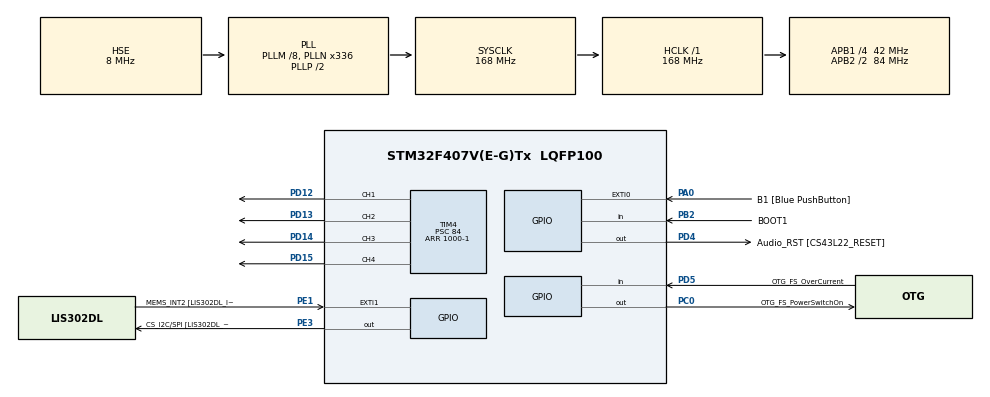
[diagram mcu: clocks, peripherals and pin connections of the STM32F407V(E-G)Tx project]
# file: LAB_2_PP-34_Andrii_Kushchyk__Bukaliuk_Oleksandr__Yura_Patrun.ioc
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Mcu.Family=STM32F4
Mcu.Name=STM32F407V(E-G)Tx
Mcu.Package=LQFP100
NVIC.PriorityGroup=NVIC_PRIORITYGROUP_0
PA0-WKUP.GPIO_Label=B1 [Blue PushButton]
PA0-WKUP.Signal=GPXTI0
PA10.GPIO_Label=OTG_FS_ID
PA10.GPIO_Mode=GPIO_MODE_AF_PP
PA10.GPIO_PuPd=GPIO_NOPULL
PA10.GPIO_Speed=GPIO_SPEED_FREQ_LOW
PA10.Signal=USB_OTG_FS_ID
PA11.GPIO_Label=OTG_FS_DM
PA11.GPIO_Mode=GPIO_MODE_AF_PP
PA11.GPIO_PuPd=GPIO_NOPULL
PA11.GPIO_Speed=GPIO_SPEED_FREQ_LOW
PA11.Signal=USB_OTG_FS_DM
PA12.GPIO_Label=OTG_FS_DP
PA12.GPIO_Mode=GPIO_MODE_AF_PP
PA12.GPIO_PuPd=GPIO_NOPULL
PA12.GPIO_Speed=GPIO_SPEED_FREQ_LOW
PA12.Signal=USB_OTG_FS_DP
PA13.GPIO_Label=SWDIO
PA13.Mode=Serial_Wire
PA13.Signal=SYS_JTMS-SWDIO
PA14.GPIO_Label=SWCLK
PA14.Mode=Serial_Wire
PA14.Signal=SYS_JTCK-SWCLK
PA4.GPIO_Label=I2S3_WS [CS43L22_LRCK]
PA4.GPIO_Mode=GPIO_MODE_AF_PP
PA4.GPIO_PuPd=GPIO_NOPULL
PA4.GPIO_Speed=GPIO_SPEED_FREQ_LOW
PA4.Signal=I2S3_WS
PA5.GPIO_Label=SPI1_SCK [LIS302DL_SCL/SPC]
PA5.GPIO_Mode=GPIO_MODE_AF_PP
PA5.GPIO_PuPd=GPIO_NOPULL
PA5.GPIO_Speed=GPIO_SPEED_FREQ_LOW
PA5.Signal=SPI1_SCK
PA6.GPIO_Label=SPI1_MISO [LIS302DL_SDO]
PA6.GPIO_Mode=GPIO_MODE_AF_PP
PA6.GPIO_PuPd=GPIO_NOPULL
PA6.GPIO_Speed=GPIO_SPEED_FREQ_LOW
PA6.Signal=SPI1_MISO
PA7.GPIO_Label=SPI1_MOSI [LIS302DL_SDA/SDI/SDO]
PA7.GPIO_Mode=GPIO_MODE_AF_PP
PA7.GPIO_PuPd=GPIO_NOPULL
PA7.GPIO_Speed=GPIO_SPEED_FREQ_LOW
PA7.Signal=SPI1_MOSI
PA9.GPIO_Label=VBUS_FS
PA9.GPIO_Mode=GPIO_MODE_INPUT
PA9.GPIO_PuPd=GPIO_NOPULL
PA9.Signal=USB_OTG_FS_VBUS
PB10.GPIO_Label=CLK_IN [MP45DT02_CLK]
PB10.GPIO_Mode=GPIO_MODE_AF_PP
PB10.GPIO_PuPd=GPIO_NOPULL
PB10.GPIO_Speed=GPIO_SPEED_FREQ_LOW
PB10.Signal=I2S2_CK
PB2.GPIO_Label=BOOT1
PB2.GPIO_Mode=GPIO_MODE_INPUT
PB2.GPIO_PuPd=GPIO_NOPULL
PB2.Signal=GPIO_Input
PB3.GPIO_Label=SWO
PB3.Signal=SYS_JTDO-SWO
PB6.GPIO_Label=Audio_SCL [CS43L22_SCL]
PB6.GPIO_Mode=GPIO_MODE_AF_OD
PB6.GPIO_PuPd=GPIO_NOPULL
PB6.GPIO_Speed=GPIO_SPEED_FREQ_LOW
PB6.Signal=I2C1_SCL
PB9.GPIO_Label=Audio_SDA [CS43L22_SDA]
PB9.GPIO_Mode=GPIO_MODE_AF_OD
PB9.GPIO_PuPd=GPIO_NOPULL
PB9.GPIO_Speed=GPIO_SPEED_FREQ_LOW
PB9.Signal=I2C1_SDA
PC0.GPIO_Label=OTG_FS_PowerSwitchOn
PC0.GPIO_PuPd=GPIO_NOPULL
PC0.GPIO_Speed=GPIO_SPEED_FREQ_LOW
PC0.PinState=GPIO_PIN_SET
PC0.Signal=GPIO_Output
PC10.GPIO_Label=I2S3_SCK [CS43L22_SCLK]
PC10.GPIO_Mode=GPIO_MODE_AF_PP
PC10.GPIO_PuPd=GPIO_NOPULL
PC10.GPIO_Speed=GPIO_SPEED_FREQ_LOW
PC10.Signal=I2S3_CK
PC12.GPIO_Label=I2S3_SD [CS43L22_SDIN]
PC12.GPIO_Mode=GPIO_MODE_AF_PP
PC12.GPIO_PuPd=GPIO_NOPULL
PC12.GPIO_Speed=GPIO_SPEED_FREQ_LOW
PC12.Signal=I2S3_SD
PC14-OSC32_IN.GPIO_Label=PC14-OSC32_IN
PC14-OSC32_IN.Mode=LSE-External-Oscillator
PC14-OSC32_IN.Signal=RCC_OSC32_IN
PC15-OSC32_OUT.GPIO_Label=PC15-OSC32_OUT
PC15-OSC32_OUT.Mode=LSE-External-Oscillator
PC15-OSC32_OUT.Signal=RCC_OSC32_OUT
PC3.GPIO_Label=PDM_OUT [MP45DT02_DOUT]
PC3.GPIO_Mode=GPIO_MODE_AF_PP
PC3.GPIO_PuPd=GPIO_NOPULL
PC3.GPIO_Speed=GPIO_SPEED_FREQ_LOW
PC3.Signal=I2S2_SD
PC7.GPIO_Label=I2S3_MCK [CS43L22_MCLK]
PC7.GPIO_Mode=GPIO_MODE_AF_PP
PC7.GPIO_PuPd=GPIO_NOPULL
PC7.GPIO_Speed=GPIO_SPEED_FREQ_LOW
PC7.Signal=I2S3_MCK
PD12.Signal=S_TIM4_CH1
PD13.Signal=S_TIM4_CH2
PD14.Signal=S_TIM4_CH3
PD15.Signal=S_TIM4_CH4
PD4.GPIO_Label=Audio_RST [CS43L22_RESET]
PD4.GPIO_PuPd=GPIO_NOPULL
PD4.GPIO_Speed=GPIO_SPEED_FREQ_LOW
PD4.Signal=GPIO_Output
PD5.GPIO_Label=OTG_FS_OverCurrent
PD5.GPIO_Mode=GPIO_MODE_INPUT
PD5.GPIO_PuPd=GPIO_NOPULL
PD5.Signal=GPIO_Input
PE1.GPIO_Label=MEMS_INT2 [LIS302DL_INT2]
PE1.GPIO_ModeDefaultEXTI=GPIO_MODE_EVT_RISING
PE1.GPIO_PuPd=GPIO_NOPULL
PE1.Signal=GPXTI1
PE3.GPIO_Label=CS_I2C/SPI [LIS302DL_CS_I2C/SPI]
PE3.GPIO_PuPd=GPIO_NOPULL
PE3.GPIO_Speed=GPIO_SPEED_FREQ_LOW
PE3.Signal=GPIO_Output
PH0-OSC_IN.GPIO_Label=PH0-OSC_IN
PH0-OSC_IN.Mode=HSE-External-Oscillator
PH0-OSC_IN.Signal=RCC_OSC_IN
PH1-OSC_OUT.GPIO_Label=PH1-OSC_OUT
PH1-OSC_OUT.Mode=HSE-External-Oscillator
PH1-OSC_OUT.Signal=RCC_OSC_OUT
ProjectManager.HeapSize=0x200
ProjectManager.StackSize=0x400
ProjectManager.TargetToolchain=STM32CubeIDE
RCC.48MHZClocksFreq_Value=48000000
RCC.AHBFreq_Value=168000000
RCC.APB1CLKDivider=RCC_HCLK_DIV4
RCC.APB1Freq_Value=42000000
RCC.APB1TimFreq_Value=84000000
RCC.APB2CLKDivider=RCC_HCLK_DIV2
RCC.APB2Freq_Value=84000000
RCC.APB2TimFreq_Value=168000000
RCC.CortexFreq_Value=168000000
RCC.HCLKFreq_Value=168000000
RCC.HSE_VALUE=8000000
RCC.HSI_VALUE=16000000
RCC.PLLM=8
RCC.PLLN=336
RCC.PLLQ=7
RCC.PLLSourceVirtual=RCC_PLLSOURCE_HSE
RCC.SYSCLKFreq_VALUE=168000000
RCC.SYSCLKSource=RCC_SYSCLKSOURCE_PLLCLK
RCC.VCOOutputFreq_Value=336000000
SH.S_TIM4_CH1.0=TIM4_CH1,PWM Generation1 CH1
SH.S_TIM4_CH2.0=TIM4_CH2,PWM Generation2 CH2
SH.S_TIM4_CH3.0=TIM4_CH3,PWM Generation3 CH3
SH.S_TIM4_CH4.0=TIM4_CH4,PWM Generation4 CH4
TIM4.Channel-PWM\ Generation1\ CH1=TIM_CHANNEL_1
TIM4.Channel-PWM\ Generation2\ CH2=TIM_CHANNEL_2
TIM4.Channel-PWM\ Generation3\ CH3=TIM_CHANNEL_3
TIM4.Channel-PWM\ Generation4\ CH4=TIM_CHANNEL_4
TIM4.Period=1000-1
TIM4.Prescaler=84
VP_TIM4_VS_ClockSourceINT.Mode=Internal
board=STM32F407G-DISC1

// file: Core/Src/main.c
/* USER CODE BEGIN Header */
/**
 ******************************************************************************
 * @file           : main.c
 * @brief          : Main program body
 ******************************************************************************
 * @attention
 *
 * Copyright (c) 2024 STMicroelectronics.
 * All rights reserved.
 *
 * This software is licensed under terms that can be found in the LICENSE file
 * in the root directory of this software component.
 * If no LICENSE file comes with this software, it is provided AS-IS.
 *
 ******************************************************************************
 */
/* USER CODE END Header */
#include "main.h"

TIM_HandleTypeDef htim4;

void SystemClock_Config(void);
static void MX_GPIO_Init(void);
static void MX_TIM4_Init(void);

int main(void)
{

  /* MCU Configuration--------------------------------------------------------*/

  /* Reset of all peripherals, Initializes the Flash interface and the Systick. */
  HAL_Init();

  /* Configure the system clock */
  SystemClock_Config();

  /* Initialize all configured peripherals */
  MX_GPIO_Init();
  MX_TIM4_Init();
  /* USER CODE BEGIN 2 */
	uint32_t button_press_time = 0;
	uint32_t current_time = 0;

	uint16_t TIM_DC = 1;
	HAL_TIM_PWM_Start(&htim4, TIM_CHANNEL_1);
	HAL_TIM_PWM_Start(&htim4, TIM_CHANNEL_2);
	HAL_TIM_PWM_Start(&htim4, TIM_CHANNEL_3);
	HAL_TIM_PWM_Start(&htim4, TIM_CHANNEL_4);

  /* USER CODE END 2 */

  /* Infinite loop */
	while (1) {

    /* USER CODE BEGIN 3 */
		if (HAL_GPIO_ReadPin(GPIOA, GPIO_PIN_0) == GPIO_PIN_SET) {

			if (button_press_time == 0) {
				button_press_time = HAL_GetTick();
			}

			current_time = HAL_GetTick();
			uint32_t hold_duration = current_time - button_press_time;
			if (hold_duration > 20 && hold_duration < 2000) {
				TIM_DC = 100;
				htim4.Instance->CCR1 = TIM_DC;
				htim4.Instance->CCR2 = TIM_DC;
				htim4.Instance->CCR3 = 0;
				htim4.Instance->CCR4 = 0;

			} else if (hold_duration >= 2000 && hold_duration < 4000) {
				TIM_DC = 400;
				htim4.Instance->CCR1 = 0;
				htim4.Instance->CCR2 = 0;
				htim4.Instance->CCR3 = TIM_DC;
				htim4.Instance->CCR4 = TIM_DC;
			} else if (hold_duration >= 4000 && hold_duration < 6000) {
				TIM_DC = 999;
				htim4.Instance->CCR1 = TIM_DC;
				htim4.Instance->CCR2 = TIM_DC;
				htim4.Instance->CCR3 = TIM_DC;
				htim4.Instance->CCR4 = TIM_DC;
			} else if (hold_duration >= 6000) {
				TIM_DC = 0;
				htim4.Instance->CCR1 = TIM_DC;
				htim4.Instance->CCR2 = TIM_DC;
				htim4.Instance->CCR3 = TIM_DC;
				htim4.Instance->CCR4 = TIM_DC;
			}

		} else {
			if (button_press_time > 0) {
				button_press_time = 0;
			}
		}
	}
  /* USER CODE END 3 */
}

void SystemClock_Config(void)
{
  RCC_OscInitTypeDef RCC_OscInitStruct = {0};
  RCC_ClkInitTypeDef RCC_ClkInitStruct = {0};

  /** Configure the main internal regulator output voltage
  */
  __HAL_RCC_PWR_CLK_ENABLE();
  __HAL_PWR_VOLTAGESCALING_CONFIG(PWR_REGULATOR_VOLTAGE_SCALE1);

  /** Initializes the RCC Oscillators according to the specified parameters
  * in the RCC_OscInitTypeDef structure.
  */
  RCC_OscInitStruct.OscillatorType = RCC_OSCILLATORTYPE_HSE;
  RCC_OscInitStruct.HSEState = RCC_HSE_ON;
  RCC_OscInitStruct.PLL.PLLState = RCC_PLL_ON;
  RCC_OscInitStruct.PLL.PLLSource = RCC_PLLSOURCE_HSE;
  RCC_OscInitStruct.PLL.PLLM = 8;
  RCC_OscInitStruct.PLL.PLLN = 336;
  RCC_OscInitStruct.PLL.PLLP = RCC_PLLP_DIV2;
  RCC_OscInitStruct.PLL.PLLQ = 7;
  if (HAL_RCC_OscConfig(&RCC_OscInitStruct) != HAL_OK)
  {
    Error_Handler();
  }

  /** Initializes the CPU, AHB and APB buses clocks
  */
  RCC_ClkInitStruct.ClockType = RCC_CLOCKTYPE_HCLK|RCC_CLOCKTYPE_SYSCLK
                              |RCC_CLOCKTYPE_PCLK1|RCC_CLOCKTYPE_PCLK2;
  RCC_ClkInitStruct.SYSCLKSource = RCC_SYSCLKSOURCE_PLLCLK;
  RCC_ClkInitStruct.AHBCLKDivider = RCC_SYSCLK_DIV1;
  RCC_ClkInitStruct.APB1CLKDivider = RCC_HCLK_DIV4;
  RCC_ClkInitStruct.APB2CLKDivider = RCC_HCLK_DIV2;

  if (HAL_RCC_ClockConfig(&RCC_ClkInitStruct, FLASH_LATENCY_5) != HAL_OK)
  {
    Error_Handler();
  }
}

static void MX_TIM4_Init(void)
{

  TIM_ClockConfigTypeDef sClockSourceConfig = {0};
  TIM_MasterConfigTypeDef sMasterConfig = {0};
  TIM_OC_InitTypeDef sConfigOC = {0};

  htim4.Instance = TIM4;
  htim4.Init.Prescaler = 84;
  htim4.Init.CounterMode = TIM_COUNTERMODE_UP;
  htim4.Init.Period = 1000-1;
  htim4.Init.ClockDivision = TIM_CLOCKDIVISION_DIV1;
  htim4.Init.AutoReloadPreload = TIM_AUTORELOAD_PRELOAD_DISABLE;
  if (HAL_TIM_Base_Init(&htim4) != HAL_OK)
  {
    Error_Handler();
  }
  sClockSourceConfig.ClockSource = TIM_CLOCKSOURCE_INTERNAL;
  if (HAL_TIM_ConfigClockSource(&htim4, &sClockSourceConfig) != HAL_OK)
  {
    Error_Handler();
  }
  if (HAL_TIM_PWM_Init(&htim4) != HAL_OK)
  {
    Error_Handler();
  }
  sMasterConfig.MasterOutputTrigger = TIM_TRGO_RESET;
  sMasterConfig.MasterSlaveMode = TIM_MASTERSLAVEMODE_DISABLE;
  if (HAL_TIMEx_MasterConfigSynchronization(&htim4, &sMasterConfig) != HAL_OK)
  {
    Error_Handler();
  }
  sConfigOC.OCMode = TIM_OCMODE_PWM1;
  sConfigOC.Pulse = 0;
  sConfigOC.OCPolarity = TIM_OCPOLARITY_HIGH;
  sConfigOC.OCFastMode = TIM_OCFAST_DISABLE;
  if (HAL_TIM_PWM_ConfigChannel(&htim4, &sConfigOC, TIM_CHANNEL_1) != HAL_OK)
  {
    Error_Handler();
  }
  if (HAL_TIM_PWM_ConfigChannel(&htim4, &sConfigOC, TIM_CHANNEL_2) != HAL_OK)
  {
    Error_Handler();
  }
  if (HAL_TIM_PWM_ConfigChannel(&htim4, &sConfigOC, TIM_CHANNEL_3) != HAL_OK)
  {
    Error_Handler();
  }
  if (HAL_TIM_PWM_ConfigChannel(&htim4, &sConfigOC, TIM_CHANNEL_4) != HAL_OK)
  {
    Error_Handler();
  }
  HAL_TIM_MspPostInit(&htim4);

}

static void MX_GPIO_Init(void)
{
  GPIO_InitTypeDef GPIO_InitStruct = {0};

  /* GPIO Ports Clock Enable */
  __HAL_RCC_GPIOE_CLK_ENABLE();
  __HAL_RCC_GPIOC_CLK_ENABLE();
  __HAL_RCC_GPIOH_CLK_ENABLE();
  __HAL_RCC_GPIOA_CLK_ENABLE();
  __HAL_RCC_GPIOB_CLK_ENABLE();
  __HAL_RCC_GPIOD_CLK_ENABLE();

  /*Configure GPIO pin Output Level */
  HAL_GPIO_WritePin(CS_I2C_SPI_GPIO_Port, CS_I2C_SPI_Pin, GPIO_PIN_RESET);

  /*Configure GPIO pin Output Level */
  HAL_GPIO_WritePin(OTG_FS_PowerSwitchOn_GPIO_Port, OTG_FS_PowerSwitchOn_Pin, GPIO_PIN_SET);

  /*Configure GPIO pin Output Level */
  HAL_GPIO_WritePin(Audio_RST_GPIO_Port, Audio_RST_Pin, GPIO_PIN_RESET);

  /*Configure GPIO pin : CS_I2C_SPI_Pin */
  GPIO_InitStruct.Pin = CS_I2C_SPI_Pin;
  GPIO_InitStruct.Mode = GPIO_MODE_OUTPUT_PP;
  GPIO_InitStruct.Pull = GPIO_NOPULL;
  GPIO_InitStruct.Speed = GPIO_SPEED_FREQ_LOW;
  HAL_GPIO_Init(CS_I2C_SPI_GPIO_Port, &GPIO_InitStruct);

  /*Configure GPIO pin : OTG_FS_PowerSwitchOn_Pin */
  GPIO_InitStruct.Pin = OTG_FS_PowerSwitchOn_Pin;
  GPIO_InitStruct.Mode = GPIO_MODE_OUTPUT_PP;
  GPIO_InitStruct.Pull = GPIO_NOPULL;
  GPIO_InitStruct.Speed = GPIO_SPEED_FREQ_LOW;
  HAL_GPIO_Init(OTG_FS_PowerSwitchOn_GPIO_Port, &GPIO_InitStruct);

  /*Configure GPIO pin : PDM_OUT_Pin */
  GPIO_InitStruct.Pin = PDM_OUT_Pin;
  GPIO_InitStruct.Mode = GPIO_MODE_AF_PP;
  GPIO_InitStruct.Pull = GPIO_NOPULL;
  GPIO_InitStruct.Speed = GPIO_SPEED_FREQ_LOW;
  GPIO_InitStruct.Alternate = GPIO_AF5_SPI2;
  HAL_GPIO_Init(PDM_OUT_GPIO_Port, &GPIO_InitStruct);

  /*Configure GPIO pin : B1_Pin */
  GPIO_InitStruct.Pin = B1_Pin;
  GPIO_InitStruct.Mode = GPIO_MODE_IT_RISING;
  GPIO_InitStruct.Pull = GPIO_NOPULL;
  HAL_GPIO_Init(B1_GPIO_Port, &GPIO_InitStruct);

  /*Configure GPIO pin : I2S3_WS_Pin */
  GPIO_InitStruct.Pin = I2S3_WS_Pin;
  GPIO_InitStruct.Mode = GPIO_MODE_AF_PP;
  GPIO_InitStruct.Pull = GPIO_NOPULL;
  GPIO_InitStruct.Speed = GPIO_SPEED_FREQ_LOW;
  GPIO_InitStruct.Alternate = GPIO_AF6_SPI3;
  HAL_GPIO_Init(I2S3_WS_GPIO_Port, &GPIO_InitStruct);

  /*Configure GPIO pins : SPI1_SCK_Pin SPI1_MISO_Pin SPI1_MOSI_Pin */
  GPIO_InitStruct.Pin = SPI1_SCK_Pin|SPI1_MISO_Pin|SPI1_MOSI_Pin;
  GPIO_InitStruct.Mode = GPIO_MODE_AF_PP;
  GPIO_InitStruct.Pull = GPIO_NOPULL;
  GPIO_InitStruct.Speed = GPIO_SPEED_FREQ_LOW;
  GPIO_InitStruct.Alternate = GPIO_AF5_SPI1;
  HAL_GPIO_Init(GPIOA, &GPIO_InitStruct);

  /*Configure GPIO pin : BOOT1_Pin */
  GPIO_InitStruct.Pin = BOOT1_Pin;
  GPIO_InitStruct.Mode = GPIO_MODE_INPUT;
  GPIO_InitStruct.Pull = GPIO_NOPULL;
  HAL_GPIO_Init(BOOT1_GPIO_Port, &GPIO_InitStruct);

  /*Configure GPIO pin : CLK_IN_Pin */
  GPIO_InitStruct.Pin = CLK_IN_Pin;
  GPIO_InitStruct.Mode = GPIO_MODE_AF_PP;
  GPIO_InitStruct.Pull = GPIO_NOPULL;
  GPIO_InitStruct.Speed = GPIO_SPEED_FREQ_LOW;
  GPIO_InitStruct.Alternate = GPIO_AF5_SPI2;
  HAL_GPIO_Init(CLK_IN_GPIO_Port, &GPIO_InitStruct);

  /*Configure GPIO pins : I2S3_MCK_Pin I2S3_SCK_Pin I2S3_SD_Pin */
  GPIO_InitStruct.Pin = I2S3_MCK_Pin|I2S3_SCK_Pin|I2S3_SD_Pin;
  GPIO_InitStruct.Mode = GPIO_MODE_AF_PP;
  GPIO_InitStruct.Pull = GPIO_NOPULL;
  GPIO_InitStruct.Speed = GPIO_SPEED_FREQ_LOW;
  GPIO_InitStruct.Alternate = GPIO_AF6_SPI3;
  HAL_GPIO_Init(GPIOC, &GPIO_InitStruct);

  /*Configure GPIO pin : VBUS_FS_Pin */
  GPIO_InitStruct.Pin = VBUS_FS_Pin;
  GPIO_InitStruct.Mode = GPIO_MODE_INPUT;
  GPIO_InitStruct.Pull = GPIO_NOPULL;
  HAL_GPIO_Init(VBUS_FS_GPIO_Port, &GPIO_InitStruct);

  /*Configure GPIO pins : OTG_FS_ID_Pin OTG_FS_DM_Pin OTG_FS_DP_Pin */
  GPIO_InitStruct.Pin = OTG_FS_ID_Pin|OTG_FS_DM_Pin|OTG_FS_DP_Pin;
  GPIO_InitStruct.Mode = GPIO_MODE_AF_PP;
  GPIO_InitStruct.Pull = GPIO_NOPULL;
  GPIO_InitStruct.Speed = GPIO_SPEED_FREQ_LOW;
  GPIO_InitStruct.Alternate = GPIO_AF10_OTG_FS;
  HAL_GPIO_Init(GPIOA, &GPIO_InitStruct);

  /*Configure GPIO pin : Audio_RST_Pin */
  GPIO_InitStruct.Pin = Audio_RST_Pin;
  GPIO_InitStruct.Mode = GPIO_MODE_OUTPUT_PP;
  GPIO_InitStruct.Pull = GPIO_NOPULL;
  GPIO_InitStruct.Speed = GPIO_SPEED_FREQ_LOW;
  HAL_GPIO_Init(Audio_RST_GPIO_Port, &GPIO_InitStruct);

  /*Configure GPIO pin : OTG_FS_OverCurrent_Pin */
  GPIO_InitStruct.Pin = OTG_FS_OverCurrent_Pin;
  GPIO_InitStruct.Mode = GPIO_MODE_INPUT;
  GPIO_InitStruct.Pull = GPIO_NOPULL;
  HAL_GPIO_Init(OTG_FS_OverCurrent_GPIO_Port, &GPIO_InitStruct);

  /*Configure GPIO pins : Audio_SCL_Pin Audio_SDA_Pin */
  GPIO_InitStruct.Pin = Audio_SCL_Pin|Audio_SDA_Pin;
  GPIO_InitStruct.Mode = GPIO_MODE_AF_OD;
  GPIO_InitStruct.Pull = GPIO_NOPULL;
  GPIO_InitStruct.Speed = GPIO_SPEED_FREQ_LOW;
  GPIO_InitStruct.Alternate = GPIO_AF4_I2C1;
  HAL_GPIO_Init(GPIOB, &GPIO_InitStruct);

  /*Configure GPIO pin : MEMS_INT2_Pin */
  GPIO_InitStruct.Pin = MEMS_INT2_Pin;
  GPIO_InitStruct.Mode = GPIO_MODE_EVT_RISING;
  GPIO_InitStruct.Pull = GPIO_NOPULL;
  HAL_GPIO_Init(MEMS_INT2_GPIO_Port, &GPIO_InitStruct);

}

void Error_Handler(void)
{
	__disable_irq();
	while (1) {
	}
}
